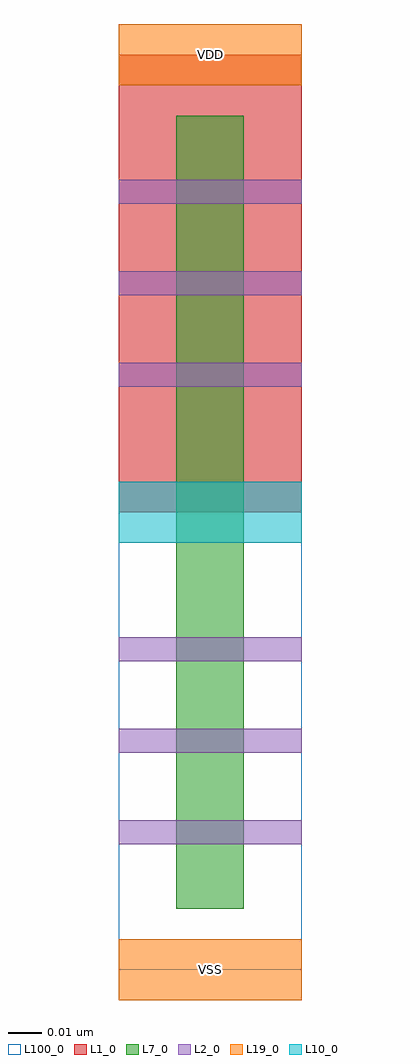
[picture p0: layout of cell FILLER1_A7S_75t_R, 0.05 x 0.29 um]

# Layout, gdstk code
import gdstk
lib = gdstk.Library(unit=1e-6, precision=2.5e-10)
def R(c, l, rs):  # rectangles x0, y0, x1, y1
    for r in rs: c.add(gdstk.rectangle(r[:2], r[2:], *l))
def A(c, l, x, y, w, h, nx, ny, dx, dy):  # array of equal rectangles
    R(c, l, [(x+i*dx, y+j*dy, x+i*dx+w, y+j*dy+h) for i in range(nx) for j in range(ny)])
L1_0 = (1, 0)
L2_0 = (2, 0)
L7_0 = (7, 0)
L10_0 = (10, 0)
L19_0 = (19, 0)
L100_0 = (100, 0)

filler1_a7s_75t_r = lib.new_cell('FILLER1_A7S_75t_R')
R(filler1_a7s_75t_r, L1_0, [(0,0.135,0.054,0.27)])
A(filler1_a7s_75t_r, L2_0, 0, 0.037, 0.054, 0.007, 1, 3, 0, 0.027)
A(filler1_a7s_75t_r, L2_0, 0, 0.172, 0.054, 0.007, 1, 3, 0, 0.027)
R(filler1_a7s_75t_r, L7_0, [(0.017,0.018,0.037,0.252)])
R(filler1_a7s_75t_r, L10_0, [(0,0.126,0.054,0.144)])
R(filler1_a7s_75t_r, L19_0, [(0,-0.009,0.054,0.009), (0,0.261,0.054,0.279)])
R(filler1_a7s_75t_r, L100_0, [(0,0,0.054,0.27)])
filler1_a7s_75t_r.add(gdstk.Label('VSS', (0.027,0), layer=19, texttype=251))
filler1_a7s_75t_r.add(gdstk.Label('VDD', (0.027,0.27), layer=19, texttype=251))

lib.write_gds('FILLER1_A7S_75t_R.gds')
